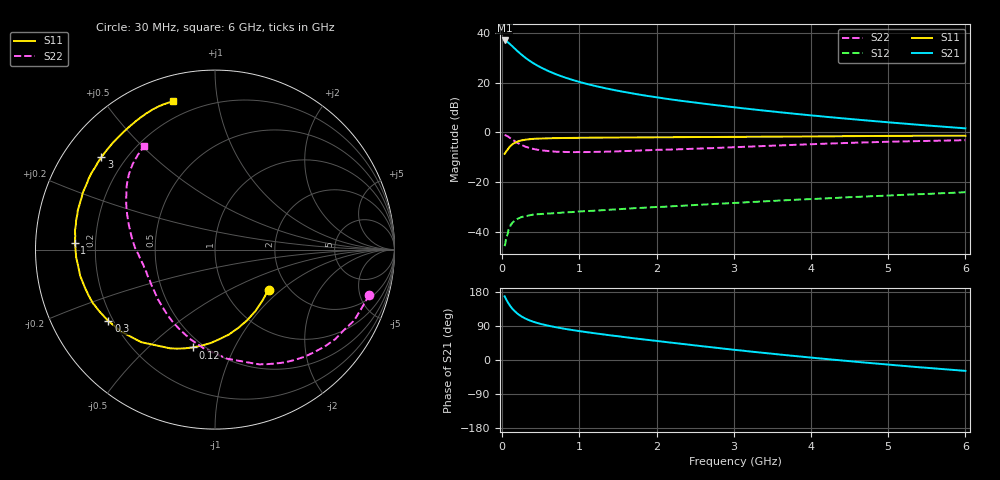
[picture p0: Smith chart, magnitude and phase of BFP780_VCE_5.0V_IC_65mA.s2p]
! Infineon Technologies  Discrete & RF Semiconductors
! BFP780
! VCE =  5.0 V,  IC =  65 mA
! Common Emitter S-Parameters:  Jul 2015
# GHz  S  MA  R  50
!  f  S11  S21  S12  S22
! GHz  MAG  ANG  MAG  ANG  MAG  ANG  MAG  ANG
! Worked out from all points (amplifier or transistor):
!   75 points, 30 MHz to 6 GHz, reference 50 ohm
!   highest |S21| = 37.1 dB at 30 MHz (marker M1)
!   |S21| within 3 dB of that: start of sweep to 152.1 MHz
!   unconditionally stable (mu >= 1): 1.797 GHz to end of sweep
!   at 150 MHz: K = 0.20, MSG = 35.0 dB, |S12| = -35.9 dB
!   at 2.3 GHz: K = 1.12, MAG = 19.1 dB, |S12| = -29.6 dB
!   at 6 GHz: K = 1.20, MAG = 10.2 dB, |S12| = -24.1 dB
!   S11 on the Smith chart (normalised r, x): 30 MHz: 1.59, -0.82; 120 MHz: 0.44, -0.70; 300 MHz: 0.18, -0.29; 1 GHz: 0.12, +0.02; 3 GHz: 0.11, +0.35; 6 GHz: 0.12, +0.75
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0.03  0.3722 -36.7  71.66 168.0  0.0051 57.2  0.8956 -16.3
0.05  0.4109 -57.1  69.26 160.0  0.0078 60.9  0.87 -27.0
0.07  0.4541 -73.1  66.07 152.9  0.009 64.0  0.8356 -36.6
0.09  0.4989 -87.0  62.35 146.4  0.0116 52.1  0.7947 -46.0
0.12  0.5586 -102.7  56.56 137.9  0.0142 48.5  0.7389 -58.3
0.15  0.6044 -114.5  51.09 131.0  0.0161 42.8  0.6849 -69.0
0.2  0.6599 -128.6  43.18 121.8  0.0182 38.0  0.6119 -83.6
0.25  0.6935 -138.7  37 114.7  0.0198 33.3  0.559 -95.5
0.3  0.7152 -146.2  32.04 109.3  0.0204 30.6  0.5179 -105.3
0.35  0.731 -152.1  28.16 104.8  0.0213 27.8  0.4883 -113.3
0.4  0.7435 -156.6  25.06 101.1  0.0221 26.5  0.4676 -120.1
0.5  0.755 -163.7  20.46 95.1  0.0227 24.8  0.4373 -130.8
0.7  0.7682 -173.4  14.84 86.2  0.0237 23.3  0.4096 -145.6
1  0.7817 177.1  10.45 76.2  0.0256 23.6  0.403 -159.0
1.1  0.782 174.6  9.479 73.3  0.026 24.2  0.4025 -162.4
1.5  0.7911 166.1  6.921 62.7  0.0283 25.7  0.4163 -172.3
2.1  0.8023 155.3  4.849 47.9  0.0318 26.4  0.4488 177.5
3  0.8162 140.8  3.23 27.0  0.0379 27.2  0.5038 163.0
3.1  0.8172 139.4  3.098 25.0  0.0386 27.3  0.5112 161.4
4.1  0.834 125.3  2.139 4.4  0.0462 25.2  0.5871 147.3
5.1  0.8547 114.0  1.557 -13.9  0.0545 20.7  0.6549 135.1
6  0.8589 105.8  1.212 -28.7  0.0625 15.7  0.6993 124.2
